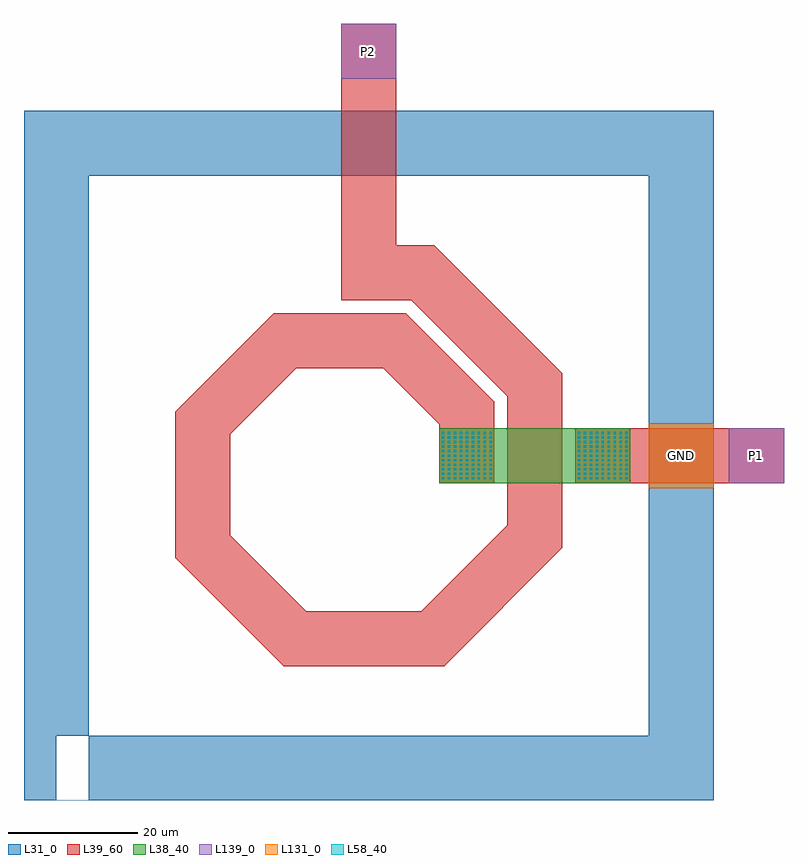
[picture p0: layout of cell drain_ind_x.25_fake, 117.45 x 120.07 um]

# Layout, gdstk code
import gdstk
lib = gdstk.Library(unit=1e-6, precision=1e-09)
def R(c, l, rs):  # rectangles x0, y0, x1, y1
    for r in rs: c.add(gdstk.rectangle(r[:2], r[2:], *l))
def A(c, l, x, y, w, h, nx, ny, dx, dy):  # array of equal rectangles
    R(c, l, [(x+i*dx, y+j*dy, x+i*dx+w, y+j*dy+h) for i in range(nx) for j in range(ny)])
def P(c, l, *ps):  # polygons
    for p in ps: c.add(gdstk.Polygon(p, *l))
L31_0 = (31, 0)
L38_40 = (38, 40)
L39_60 = (39, 60)
L58_40 = (58, 40)
L131_0 = (131, 0)
L139_0 = (139, 0)

drain_ind_x_25_fake = lib.new_cell('drain_ind_x.25_fake')
P(drain_ind_x_25_fake, L31_0, [(-48.285,-43.285),(-48.285,-53.285),(53.285,-53.285),(53.285,53.285),(-53.285,53.285),(-53.285,-53.285),(-43.285,-53.285),(-43.285,43.285),(43.285,43.285),(43.285,-43.285)])
R(drain_ind_x_25_fake, L38_40, [(10.91,-4.25,40.41,4.25)])
R(drain_ind_x_25_fake, L39_60, [(31.91,-4.25,64.16,4.25)])
P(drain_ind_x_25_fake, L39_60, [(10.91,-4.25),(19.41,-4.25),(19.41,8.36),(5.735,22.035),(-14.695,22.035),(-29.91,6.82),(-29.91,-15.78),(-13.155,-32.535),(11.62,-32.535),(29.91,-14.245),(29.91,12.705),(10.08,32.535),(4.25,32.535),(4.25,66.785),(-4.25,66.785),(-4.25,24.035),(6.56,24.035),(21.41,9.185),(21.41,-10.725),(8.1,-24.035),(-9.635,-24.035),(-21.41,-12.26),(-21.41,3.3),(-11.175,13.535),(2.215,13.535),(10.91,4.84)])
A(drain_ind_x_25_fake, L58_40, 11.3, -3.68, 0.36, 0.36, 9, 11, 0.92, 0.7)
A(drain_ind_x_25_fake, L58_40, 32.3, -3.68, 0.36, 0.36, 9, 11, 0.92, 0.7)
R(drain_ind_x_25_fake, L131_0, [(43.285,-5,53.285,5)])
R(drain_ind_x_25_fake, L139_0, [(55.66,-4.25,64.16,4.25), (-4.25,58.285,4.25,66.785)])
drain_ind_x_25_fake.add(gdstk.Label('P1', (59.91,0), layer=139, texttype=0))
drain_ind_x_25_fake.add(gdstk.Label('P2', (0,62.535), layer=139, texttype=0))
drain_ind_x_25_fake.add(gdstk.Label('GND', (48.285,0), layer=131, texttype=0))

lib.write_gds('drain_ind_x.25_fake.gds')
